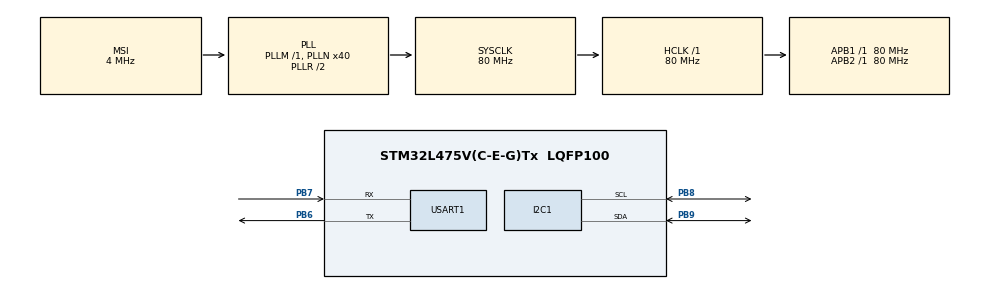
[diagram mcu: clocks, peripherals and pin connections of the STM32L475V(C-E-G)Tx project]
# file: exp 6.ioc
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I2C1.Timing=0x10D19CE4
Mcu.Family=STM32L4
Mcu.Name=STM32L475V(C-E-G)Tx
Mcu.Package=LQFP100
NVIC.PriorityGroup=NVIC_PRIORITYGROUP_4
PB6.Mode=Asynchronous
PB6.Signal=USART1_TX
PB7.Mode=Asynchronous
PB7.Signal=USART1_RX
PB8.Mode=I2C
PB8.Signal=I2C1_SCL
PB9.Mode=I2C
PB9.Signal=I2C1_SDA
PC14-OSC32_IN\ (PC14).Mode=LSE-External-Clock-Source
PC14-OSC32_IN\ (PC14).Signal=RCC_OSC32_IN
PH0-OSC_IN\ (PH0).Mode=HSE-External-Clock-Source
PH0-OSC_IN\ (PH0).Signal=RCC_OSC_IN
ProjectManager.HeapSize=0x200
ProjectManager.StackSize=0x400
ProjectManager.TargetToolchain=STM32CubeIDE
RCC.AHBFreq_Value=80000000
RCC.APB1Freq_Value=80000000
RCC.APB1TimFreq_Value=80000000
RCC.APB2Freq_Value=80000000
RCC.APB2TimFreq_Value=80000000
RCC.CortexFreq_Value=80000000
RCC.HCLKFreq_Value=80000000
RCC.HSE_VALUE=8000000
RCC.HSI_VALUE=16000000
RCC.LSE_VALUE=32768
RCC.MSI_VALUE=4000000
RCC.PLLN=40
RCC.SYSCLKFreq_VALUE=80000000
RCC.SYSCLKSource=RCC_SYSCLKSOURCE_PLLCLK
RCC.VCOOutputFreq_Value=160000000
USART1.VirtualMode-Asynchronous=VM_ASYNC
board=custom

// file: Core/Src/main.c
/* USER CODE BEGIN Header */
/**
  ******************************************************************************
  * @file           : main.c
  * @brief          : Main program body
  ******************************************************************************
  * @attention
  *
  * Copyright (c) 2026 STMicroelectronics.
  * All rights reserved.
  *
  * This software is licensed under terms that can be found in the LICENSE file
  * in the root directory of this software component.
  * If no LICENSE file comes with this software, it is provided AS-IS.
  *
  ******************************************************************************
  */
/* USER CODE END Header */
#include "main.h"

/* USER CODE BEGIN Includes */
/* Includes */
#include "stm32l475e_iot01.h"
#include "stm32l475e_iot01_accelero.h"
#include "stm32l475e_iot01_gyro.h"
#include "stdlib.h"
#include <math.h>
#include <string.h>
#include <stdio.h>
/* USER CODE END Includes */

I2C_HandleTypeDef hi2c1;

UART_HandleTypeDef huart1;

/* USER CODE BEGIN PV */
/* USER CODE BEGIN PV */
char msg_motion[50] = "LSM6DSL motion sensor initialized\r\n";
char str_accel[100];
char str_gyro[100];
int16_t accel_data[3];   /* Accelerometer usually returns raw 16-bit integers */
float gyro_data[3];      /* FIXED: Gyroscope BSP expects a float array */
/* USER CODE END PV */
/* USER CODE END PV */

void SystemClock_Config(void);
static void MX_GPIO_Init(void);
static void MX_I2C1_Init(void);
static void MX_USART1_UART_Init(void);

int main(void)
{

  /* MCU Configuration--------------------------------------------------------*/

  /* Reset of all peripherals, Initializes the Flash interface and the Systick. */
  HAL_Init();

  /* Configure the system clock */
  SystemClock_Config();

  /* Initialize all configured peripherals */
  MX_GPIO_Init();
  MX_I2C1_Init();
  MX_USART1_UART_Init();
  /* USER CODE BEGIN 2 */
  /* USER CODE BEGIN 2 */
  if (BSP_ACCELERO_Init() != ACCELERO_OK || BSP_GYRO_Init() != GYRO_OK)
  {
      char errmsg[] = "Motion sensor Init Error\r\n";
      HAL_UART_Transmit(&huart1, (uint8_t*)errmsg, strlen(errmsg), 1000);
      while(1); // Stop here if init fails
  }
  else
  {
      HAL_UART_Transmit(&huart1, (uint8_t*)msg_motion, strlen(msg_motion), 1000);
  }
  HAL_Delay(100);
  /* USER CODE END 2 */
  /* USER CODE END 2 */

  /* Infinite loop */
  while (1)
  {
	  BSP_ACCELERO_AccGetXYZ(accel_data);
	  sprintf(str_accel, "Accelero: X=%.2f, Y=%.2f, Z=%.2f mg\r\n",
	          (float)accel_data[0]/1000.0f,
	          (float)accel_data[1]/1000.0f,
	          (float)accel_data[2]/1000.0f);
	  HAL_UART_Transmit(&huart1, (uint8_t*)str_accel, strlen(str_accel), 1000);
	  HAL_Delay(100);

	  BSP_GYRO_GetXYZ(gyro_data);
	  sprintf(str_gyro, "Gyro: X=%.2f, Y=%.2f, Z=%.2f mdps\r\n",
	          (float)gyro_data[0],
	          (float)gyro_data[1],
	          (float)gyro_data[2]);
	  HAL_UART_Transmit(&huart1, (uint8_t*)str_gyro, strlen(str_gyro), 1000);
	  HAL_Delay(1000);
  }
}

void SystemClock_Config(void)
{
  RCC_OscInitTypeDef RCC_OscInitStruct = {0};
  RCC_ClkInitTypeDef RCC_ClkInitStruct = {0};

  /** Configure the main internal regulator output voltage
  */
  if (HAL_PWREx_ControlVoltageScaling(PWR_REGULATOR_VOLTAGE_SCALE1) != HAL_OK)
  {
    Error_Handler();
  }

  /** Initializes the RCC Oscillators according to the specified parameters
  * in the RCC_OscInitTypeDef structure.
  */
  RCC_OscInitStruct.OscillatorType = RCC_OSCILLATORTYPE_LSE|RCC_OSCILLATORTYPE_MSI;
  RCC_OscInitStruct.LSEState = RCC_LSE_BYPASS;
  RCC_OscInitStruct.MSIState = RCC_MSI_ON;
  RCC_OscInitStruct.MSICalibrationValue = 0;
  RCC_OscInitStruct.MSIClockRange = RCC_MSIRANGE_6;
  RCC_OscInitStruct.PLL.PLLState = RCC_PLL_ON;
  RCC_OscInitStruct.PLL.PLLSource = RCC_PLLSOURCE_MSI;
  RCC_OscInitStruct.PLL.PLLM = 1;
  RCC_OscInitStruct.PLL.PLLN = 40;
  RCC_OscInitStruct.PLL.PLLP = RCC_PLLP_DIV7;
  RCC_OscInitStruct.PLL.PLLQ = RCC_PLLQ_DIV2;
  RCC_OscInitStruct.PLL.PLLR = RCC_PLLR_DIV2;
  if (HAL_RCC_OscConfig(&RCC_OscInitStruct) != HAL_OK)
  {
    Error_Handler();
  }

  /** Initializes the CPU, AHB and APB buses clocks
  */
  RCC_ClkInitStruct.ClockType = RCC_CLOCKTYPE_HCLK|RCC_CLOCKTYPE_SYSCLK
                              |RCC_CLOCKTYPE_PCLK1|RCC_CLOCKTYPE_PCLK2;
  RCC_ClkInitStruct.SYSCLKSource = RCC_SYSCLKSOURCE_PLLCLK;
  RCC_ClkInitStruct.AHBCLKDivider = RCC_SYSCLK_DIV1;
  RCC_ClkInitStruct.APB1CLKDivider = RCC_HCLK_DIV1;
  RCC_ClkInitStruct.APB2CLKDivider = RCC_HCLK_DIV1;

  if (HAL_RCC_ClockConfig(&RCC_ClkInitStruct, FLASH_LATENCY_4) != HAL_OK)
  {
    Error_Handler();
  }

  /** Enable MSI Auto calibration
  */
  HAL_RCCEx_EnableMSIPLLMode();
}

static void MX_I2C1_Init(void)
{

  hi2c1.Instance = I2C1;
  hi2c1.Init.Timing = 0x10D19CE4;
  hi2c1.Init.OwnAddress1 = 0;
  hi2c1.Init.AddressingMode = I2C_ADDRESSINGMODE_7BIT;
  hi2c1.Init.DualAddressMode = I2C_DUALADDRESS_DISABLE;
  hi2c1.Init.OwnAddress2 = 0;
  hi2c1.Init.OwnAddress2Masks = I2C_OA2_NOMASK;
  hi2c1.Init.GeneralCallMode = I2C_GENERALCALL_DISABLE;
  hi2c1.Init.NoStretchMode = I2C_NOSTRETCH_DISABLE;
  if (HAL_I2C_Init(&hi2c1) != HAL_OK)
  {
    Error_Handler();
  }

  /** Configure Analogue filter
  */
  if (HAL_I2CEx_ConfigAnalogFilter(&hi2c1, I2C_ANALOGFILTER_ENABLE) != HAL_OK)
  {
    Error_Handler();
  }

  /** Configure Digital filter
  */
  if (HAL_I2CEx_ConfigDigitalFilter(&hi2c1, 0) != HAL_OK)
  {
    Error_Handler();
  }

}

static void MX_USART1_UART_Init(void)
{

  huart1.Instance = USART1;
  huart1.Init.BaudRate = 115200;
  huart1.Init.WordLength = UART_WORDLENGTH_8B;
  huart1.Init.StopBits = UART_STOPBITS_1;
  huart1.Init.Parity = UART_PARITY_NONE;
  huart1.Init.Mode = UART_MODE_TX_RX;
  huart1.Init.HwFlowCtl = UART_HWCONTROL_NONE;
  huart1.Init.OverSampling = UART_OVERSAMPLING_16;
  huart1.Init.OneBitSampling = UART_ONE_BIT_SAMPLE_DISABLE;
  huart1.AdvancedInit.AdvFeatureInit = UART_ADVFEATURE_NO_INIT;
  if (HAL_UART_Init(&huart1) != HAL_OK)
  {
    Error_Handler();
  }

}

static void MX_GPIO_Init(void)
{

  /* GPIO Ports Clock Enable */
  __HAL_RCC_GPIOC_CLK_ENABLE();
  __HAL_RCC_GPIOH_CLK_ENABLE();
  __HAL_RCC_GPIOB_CLK_ENABLE();

}

void Error_Handler(void)
{
  __disable_irq();
  while (1)
  {
  }
}
